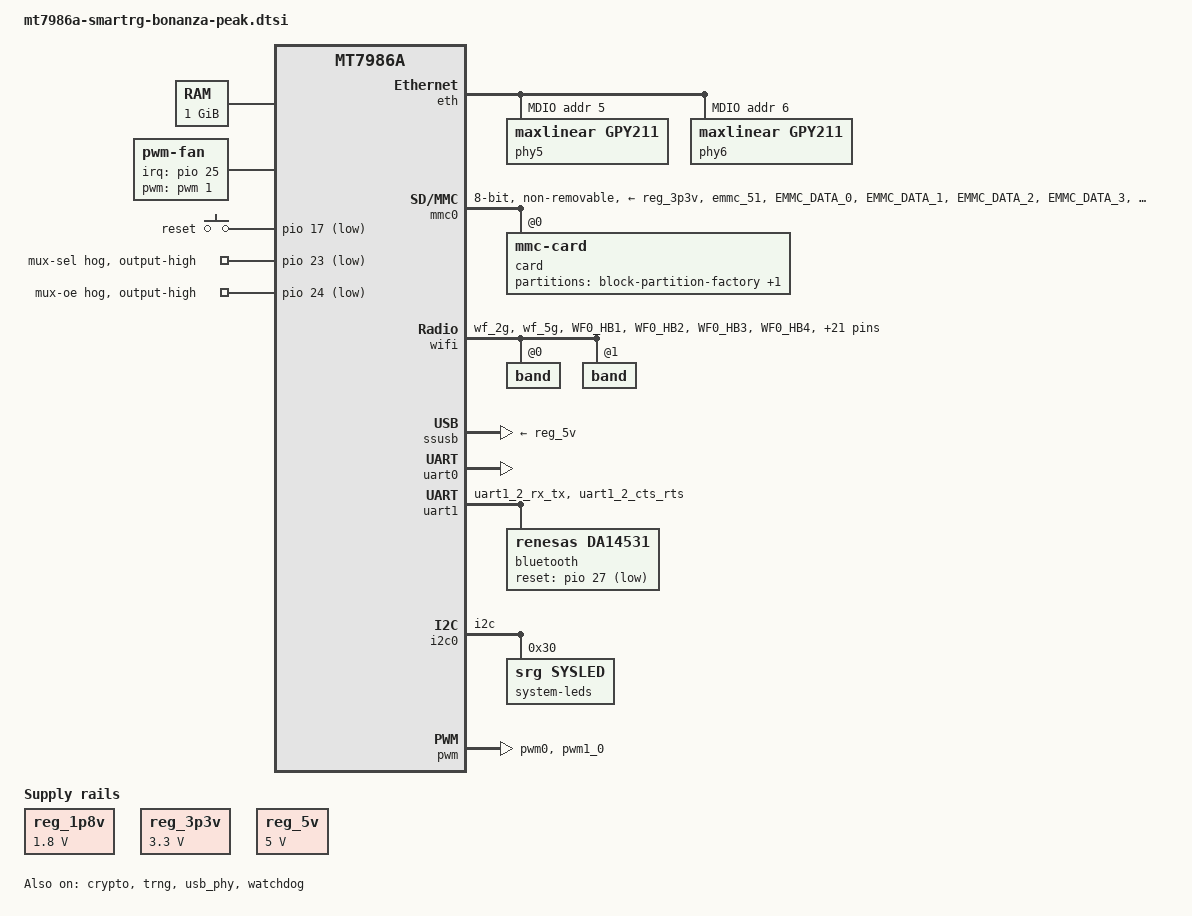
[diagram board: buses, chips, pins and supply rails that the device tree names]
// SPDX-License-Identifier: (GPL-2.0 OR MIT)
/*
 * Copyright (C) 2022 SmartRG Inc.
 * Author: Chad Monroe <chad.monroe@smartrg.com>
 */

/dts-v1/;
#include <dt-bindings/input/input.h>
#include <dt-bindings/gpio/gpio.h>
#include <dt-bindings/leds/common.h>

#include "mt7986a.dtsi"

/ {
	aliases {
		serial0 = &uart0;
		label-mac-device = &gmac1;
		led-boot = &led_status_green;
		led-failsafe = &led_status_red;
		led-running = &led_status_white;
		led-upgrade = &led_status_blue;
	};

	chosen {
		stdout-path = "serial0:115200n8";
		bootargs = "root=/dev/mmcblk0p5";
	};

	memory@40000000 {
		device_type = "memory";
		reg = <0 0x40000000 0 0x40000000>;
	};

	reserved-memory {
		#address-cells = <2>;
		#size-cells = <2>;
		ranges;

		/delete-node/ramoops@42ff0000;

		bootdata_reserved: bootdata@45000000 {
			no-map;
			reg = <0x0 0x45000000 0x0 0x00001000>;
		};

		ramoops_reserved: ramoops@45001000 {
			no-map;
			compatible = "ramoops";
			reg = <0x0 0x45001000 0x0 0x00140000>;
			ftrace-size = <0x20000>;
			record-size = <0x20000>;
			console-size = <0x20000>;
			pmsg-size = <0x80000>;
		};
	};

	bootdata {
		compatible = "bootdata";
		memory-region = <&bootdata_reserved>;
	};

	reg_1p8v: regulator-1p8v {
		compatible = "regulator-fixed";
		regulator-name = "fixed-1.8V";
		regulator-min-microvolt = <1800000>;
		regulator-max-microvolt = <1800000>;
		regulator-boot-on;
		regulator-always-on;
	};

	reg_3p3v: regulator-3p3v {
		compatible = "regulator-fixed";
		regulator-name = "fixed-3.3V";
		regulator-min-microvolt = <3300000>;
		regulator-max-microvolt = <3300000>;
		regulator-boot-on;
		regulator-always-on;
	};

	reg_5v: regulator-5v {
		compatible = "regulator-fixed";
		regulator-name = "fixed-5V";
		regulator-min-microvolt = <5000000>;
		regulator-max-microvolt = <5000000>;
		regulator-boot-on;
		regulator-always-on;
	};

	fan: pwm-fan {
		compatible = "pwm-fan";
		#cooling-cells = <2>;
		pwms = <&pwm 1 40000 0>;

		/**
		 * set fan speed
		 *
		 * 0 = off
		 * 51 = 20% duty cycle (minimum supported)
		 * 61 = 24% duty cycle (2020 RPM)
		 * 77 = 30% duty cycle (3000 RPM)
		 * 102 = 40% duty cycle (3600 RPM)
		 * 255 = 100% duty cycle
		 */
		cooling-levels = <51 61 77 102>;

		interrupt-parent = <&pio>;
		interrupts = <25 IRQ_TYPE_EDGE_FALLING>;
		pulses-per-revolution = <2>;

		status = "okay";
	};

	keys {
		compatible = "gpio-keys";
		pinctrl-names = "default";
		pinctrl-0 = <&button_pins>;

		button-reset {
			label = "reset";
			linux,code = <KEY_RESTART>;
			gpios = <&pio 17 GPIO_ACTIVE_LOW>;
		};
	};
};

&cpu_thermal {
	cooling-maps {
		cpu-active-high {
			/* active: set fan to cooling level 3 */
			cooling-device = <&fan 3 3>;
			trip = <&cpu_trip_active_high>;
		};

		cpu-active-medium {
			/* active: set fan to cooling level 2 */
			cooling-device = <&fan 2 2>;
			trip = <&cpu_trip_active_medium>;
		};

		cpu-active-low {
			/* active: set fan to cooling level 1 */
			cooling-device = <&fan 1 1>;
			trip = <&cpu_trip_active_low>;
		};

		cpu-active-silent {
			/* active: set fan to cooling level 0 */
			cooling-device = <&fan 0 0>;
			trip = <&cpu_trip_active_silent>;
		};
	};

	trips {
		cpu_trip_active_high: active-high {
			temperature = <110000>;
			hysteresis = <2000>;
			type = "active";
		};

		cpu_trip_active_medium: active-medium {
			temperature = <80000>;
			hysteresis = <2000>;
			type = "active";
		};

		cpu_trip_active_low: active-low {
			temperature = <60000>;
			hysteresis = <2000>;
			type = "active";
		};

		cpu_trip_active_silent: active-silent {
			temperature = <40000>;
			hysteresis = <2000>;
			type = "active";
		};
	};
};

&crypto {
	status = "okay";
};

&eth {
	status = "okay";

	gmac0: mac@0 {
		compatible = "mediatek,eth-mac";
		reg = <0>;
		nvmem-cells = <&macaddr 1>;
		nvmem-cell-names = "mac-address";
		phy-mode = "2500base-x";
	};

	gmac1: mac@1 {
		compatible = "mediatek,eth-mac";
		reg = <1>;
		label = "wan";
		nvmem-cells = <&macaddr 0>;
		nvmem-cell-names = "mac-address";
		phy-mode = "2500base-x";
	};

	mdio: mdio-bus {
		#address-cells = <1>;
		#size-cells = <0>;
	};
};

&mdio {
	#address-cells = <1>;
	#size-cells = <0>;

	reset-gpios = <&pio 6 GPIO_ACTIVE_LOW>;
	reset-delay-us = <1500000>;
	reset-post-delay-us = <1000000>;

	phy5: ethernet-phy@5 {
		/* GPY211 */
		compatible = "maxlinear,gpy211", "ethernet-phy-ieee802.3-c45";
		reg = <5>;

		mxl,led-drive-vdd;
		mxl,led-config = <0x30 0x40 0x80 0x0>;
	};

	phy6: ethernet-phy@6 {
		/* GPY211 */
		compatible = "maxlinear,gpy211", "ethernet-phy-ieee802.3-c45";
		reg = <6>;

		mxl,led-drive-vdd;
		mxl,led-config = <0x30 0x40 0x80 0x0>;
	};
};

&crypto {
	status = "okay";
};

&mmc0 {
	pinctrl-names = "default", "state_uhs";
	pinctrl-0 = <&mmc0_pins_default>;
	pinctrl-1 = <&mmc0_pins_uhs>;
	bus-width = <8>;
	max-frequency = <200000000>;
	cap-mmc-highspeed;
	mmc-hs200-1_8v;
	mmc-hs400-1_8v;
	hs400-ds-delay = <0x14014>;
	vmmc-supply = <&reg_3p3v>;
	vqmmc-supply = <&reg_1p8v>;
	non-removable;
	no-sd;
	no-sdio;
	status = "okay";

	card@0 {
		compatible = "mmc-card";
		reg = <0>;

		block {
			compatible = "block-device";

			partitions {
				block-partition-factory {
					partname = "factory";

					nvmem-layout {
						compatible = "fixed-layout";
						#address-cells = <1>;
						#size-cells = <1>;

						eeprom_factory_0: eeprom@0 {
							reg = <0x0 0x1000>;
						};

						eeprom_factory_a0000: eeprom@a0000 {
							reg = <0xa0000 0x1000>;
						};
					};
				};

				block-partition-mfginfo {
					partname = "mfginfo";

					nvmem-layout {
						compatible = "adtran,mfginfo";

						macaddr: mfg-mac {
							#nvmem-cell-cells = <1>;
						};
					};
				};
			};
		};
	};
};

&pcie {
	pinctrl-names = "default";
	pinctrl-0 = <&pcie_pins>;
	status = "disabled";

	slot0: pcie@0,0 {
		reg = <0x0000 0 0 0 0>;

		radio0: mt7915@0,0 {
			reg = <0x0000 0 0 0 0>;

			nvmem-cells = <&eeprom_factory_a0000>, <&macaddr 4>;
			nvmem-cell-names = "eeprom", "mac-address";
		};
	};
};

&pcie_phy {
	status = "disabled";
};

&wifi {
	nvmem-cells = <&eeprom_factory_0>;
	nvmem-cell-names = "eeprom";
	pinctrl-names = "default";
	pinctrl-0 = <&wf_2g_5g_pins>;
	#address-cells = <1>;
	#size-cells = <0>;

	status = "okay";

	band@0 {
		/* 2.4 GHz */
		reg = <0>;
		nvmem-cells = <&macaddr 2>;
		nvmem-cell-names = "mac-address";
	};

	band@1 {
		/* lower 5 GHz */
		reg = <1>;
		nvmem-cells = <&macaddr 3>;
		nvmem-cell-names = "mac-address";
	};
};

&pio {
	mmc0_pins_default: mmc0-pins {
		mux {
			function = "emmc";
			groups = "emmc_51";
		};
		conf-cmd-dat {
			pins = "EMMC_DATA_0", "EMMC_DATA_1", "EMMC_DATA_2",
			       "EMMC_DATA_3", "EMMC_DATA_4", "EMMC_DATA_5",
			       "EMMC_DATA_6", "EMMC_DATA_7", "EMMC_CMD";
			input-enable;
			drive-strength = <4>;
			mediatek,pull-up-adv = <1>;	/* pull-up 10K */
		};
		conf-clk {
			pins = "EMMC_CK";
			drive-strength = <6>;
			mediatek,pull-down-adv = <2>;	/* pull-down 50K */
		};
		conf-ds {
			pins = "EMMC_DSL";
			mediatek,pull-down-adv = <2>;	/* pull-down 50K */
		};
		conf-rst {
			pins = "EMMC_RSTB";
			drive-strength = <4>;
			mediatek,pull-up-adv = <1>;	/* pull-up 10K */
		};
	};

	mmc0_pins_uhs: mmc0-uhs-pins {
		mux {
			function = "emmc";
			groups = "emmc_51";
		};
		conf-cmd-dat {
			pins = "EMMC_DATA_0", "EMMC_DATA_1", "EMMC_DATA_2",
			       "EMMC_DATA_3", "EMMC_DATA_4", "EMMC_DATA_5",
			       "EMMC_DATA_6", "EMMC_DATA_7", "EMMC_CMD";
			input-enable;
			drive-strength = <4>;
			mediatek,pull-up-adv = <1>;	/* pull-up 10K */
		};
		conf-clk {
			pins = "EMMC_CK";
			drive-strength = <6>;
			mediatek,pull-down-adv = <2>;	/* pull-down 50K */
		};
		conf-ds {
			pins = "EMMC_DSL";
			mediatek,pull-down-adv = <2>;	/* pull-down 50K */
		};
		conf-rst {
			pins = "EMMC_RSTB";
			drive-strength = <4>;
			mediatek,pull-up-adv = <1>;	/* pull-up 10K */
		};
	};

	pcie_pins: pcie-pins {
		mux {
			function = "pcie";
			groups = "pcie_clk", "pcie_pereset";
		};
	};

	button_pins: button-pins {
		pins = "GPIO_12";
		mediatek,pull-down-adv = <0>; /* bias-disable */
	};

	uart1_pins: uart1-pins {
		mux {
			function = "uart";
			groups = "uart1_2_rx_tx", "uart1_2_cts_rts";
		};
	};

	i2c0_pins: i2c0-pins {
		mux {
			function = "i2c";
			groups = "i2c";
		};
	};

	pwm_pins: pwm-pins {
		mux {
			function = "pwm";
			groups = "pwm0", "pwm1_0";
		};
	};

	wf_2g_5g_pins: wf-2g-5g-pins {
		mux {
			function = "wifi";
			groups = "wf_2g", "wf_5g";
		};
		conf {
			pins = "WF0_HB1", "WF0_HB2", "WF0_HB3", "WF0_HB4",
			       "WF0_HB0", "WF0_HB0_B", "WF0_HB5", "WF0_HB6",
			       "WF0_HB7", "WF0_HB8", "WF0_HB9", "WF0_HB10",
			       "WF0_TOP_CLK", "WF0_TOP_DATA", "WF1_HB1",
			       "WF1_HB2", "WF1_HB3", "WF1_HB4", "WF1_HB0",
			       "WF1_HB5", "WF1_HB6", "WF1_HB7", "WF1_HB8",
			       "WF1_TOP_CLK", "WF1_TOP_DATA";
			drive-strength = <4>;
		};
	};

	mux_sel: mux-sel-hog {
		gpio-hog;
		gpios = <23 GPIO_ACTIVE_LOW>;
		line-name = "mux-sel";
		output-high;
	};

	mux_oe: mux-oe-hog {
		gpio-hog;
		gpios = <24 GPIO_ACTIVE_LOW>;
		line-name = "mux-oe";
		output-high;
	};
};

&ssusb {
	vusb33-supply = <&reg_3p3v>;
	vbus-supply = <&reg_5v>;
	status = "okay";
};

&trng {
	status = "okay";
};

&uart0 {
	status = "okay";
};

&uart1 {
	pinctrl-names = "default";
	pinctrl-0 = <&uart1_pins>;
	status = "okay";

	/* DA14531MOD Bluetooth */
	bluetooth {
		compatible = "renesas,DA14531";
		reset-gpios = <&pio 27 GPIO_ACTIVE_LOW>;
	};
};

&usb_phy {
	status = "okay";
};

&i2c0 {
	pinctrl-names = "default";
	pinctrl-0 = <&i2c0_pins>;
	status = "okay";

	system-leds {
		compatible = "srg,sysled";
		reg = <0x30>;

		led_status_red: led@1 {
			color = <LED_COLOR_ID_RED>;
			function = LED_FUNCTION_STATUS;
			reg = <1>;
		};

		led_status_green: led@2 {
			color = <LED_COLOR_ID_GREEN>;
			function = LED_FUNCTION_STATUS;
			reg = <2>;
		};

		led_status_blue: led@3 {
			color = <LED_COLOR_ID_BLUE>;
			function = LED_FUNCTION_STATUS;
			reg = <3>;
		};

		led_status_white: led@4 {
			color = <LED_COLOR_ID_WHITE>;
			function = LED_FUNCTION_STATUS;
			reg = <4>;
		};
	};
};

&pwm {
	pinctrl-names = "default";
	pinctrl-0 = <&pwm_pins>;
	status = "okay";
};

&watchdog {
	interrupts = <GIC_SPI 74 IRQ_TYPE_LEVEL_HIGH>;
	status = "okay";
};
